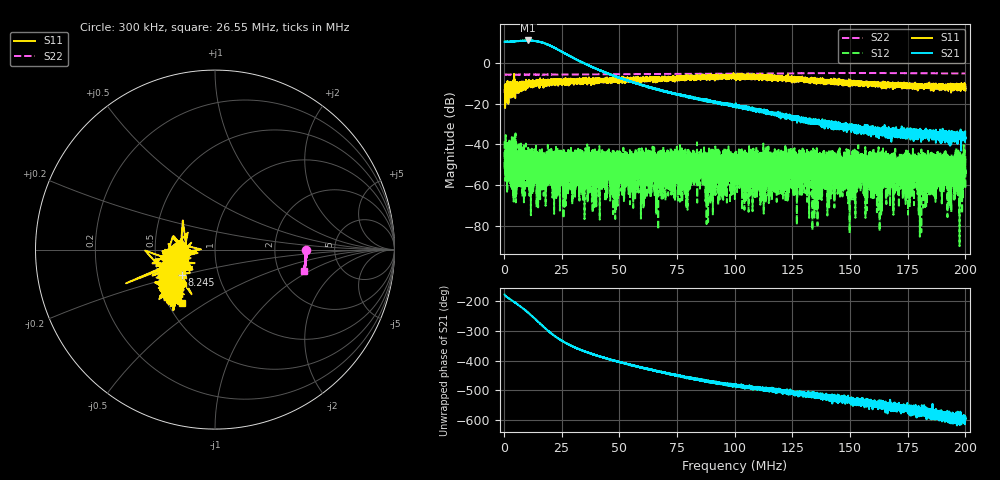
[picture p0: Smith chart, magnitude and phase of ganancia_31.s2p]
# Hz S DB R 50
! CMT, M5065, 19127446, 24.2.4/2
! Date: 11/8/2024 5:11:30 PM
! Data: Format (Calibration Info)
! Freq	S11:dB/Ang(F2)	S21:dB/Ang(F2)	S12:dB/Ang(F2)	S22:dB/Ang(F2)
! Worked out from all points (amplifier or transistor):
!   9000 points, 300 kHz to 200 MHz, reference 50 ohm
!   highest |S21| = 10.8 dB at 10.55 MHz (marker M1)
!   |S21| within 3 dB of that: start of sweep to 20.9 MHz
!   unconditionally stable (mu >= 1): start of sweep to end of sweep
!   at 33.59 MHz: K = 377.33, MAG = 2.0 dB, |S12| = -61.3 dB
!   at 100.2 MHz: K = 451.50, MAG = -18.5 dB, |S12| = -43.3 dB
!   at 200 MHz: K = 12023.49, MAG = -35.1 dB, |S12| = -54.4 dB
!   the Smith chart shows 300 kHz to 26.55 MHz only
!   S11 on the Smith chart (normalised r, x): 300 kHz: 0.68, -0.01; 8.245 MHz: 0.67, -0.20; 26.55 MHz: 0.59, -0.40
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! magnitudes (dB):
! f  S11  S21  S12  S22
! 300 kHz  -14.3  10.2  -38.5  -5.9
! 1.343 MHz  -13.9  10.2  -43.0  -5.9
! 8.245 MHz  -12.8  10.7  -48.7  -5.9
! 10.55 MHz  -9.8  10.8  -52.3  -5.9
! 20.01 MHz  -9.6  8.3  -50.3  -5.9
! 26.55 MHz  -9.1  4.4  -52.4  -5.8
! 31.57 MHz  -8.8  1.4  -53.2  -5.8
! 33.59 MHz  -10.3  0.2  -61.3  -5.7
! 56 MHz  -8.5  -9.6  -60.9  -5.6
! 59.4 MHz  -8.0  -10.8  -47.1  -5.6
! 66.87 MHz  -7.9  -13.2  -55.4  -5.5
! 77.3 MHz  -7.3  -16.3  -48.4  -5.5
! 79.79 MHz  -6.6  -16.7  -48.9  -5.5
! 85.49 MHz  -7.2  -18.1  -49.2  -5.5
! 90.46 MHz  -7.5  -19.3  -47.6  -5.4
! 100.2 MHz  -6.3  -21.1  -43.3  -5.4
! 133.4 MHz  -8.6  -29.0  -59.1  -5.2
! 154.4 MHz  -10.8  -33.3  -59.1  -5.1
! 156.8 MHz  -10.7  -33.0  -48.9  -5.1
! 159.8 MHz  -9.6  -33.4  -51.8  -5.1
! 166.7 MHz  -11.9  -33.1  -54.6  -5.1
! 200 MHz  -11.0  -37.0  -54.4  -5.3
